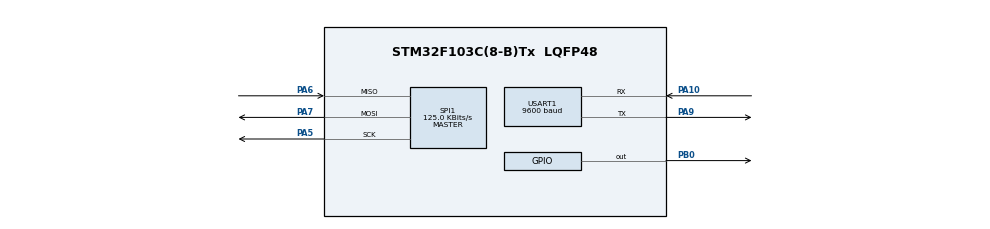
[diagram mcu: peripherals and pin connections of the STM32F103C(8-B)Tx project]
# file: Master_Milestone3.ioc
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Mcu.Family=STM32F1
Mcu.Name=STM32F103C(8-B)Tx
Mcu.Package=LQFP48
NVIC.PriorityGroup=NVIC_PRIORITYGROUP_4
PA10.Mode=Asynchronous
PA10.Signal=USART1_RX
PA5.Mode=Full_Duplex_Master
PA5.Signal=SPI1_SCK
PA6.Mode=Full_Duplex_Master
PA6.Signal=SPI1_MISO
PA7.Mode=Full_Duplex_Master
PA7.Signal=SPI1_MOSI
PA9.Mode=Asynchronous
PA9.Signal=USART1_TX
PB0.Signal=GPIO_Output
ProjectManager.HeapSize=0x200
ProjectManager.StackSize=0x400
ProjectManager.TargetToolchain=STM32CubeIDE
RCC.APB1Freq_Value=8000000
RCC.APB2Freq_Value=8000000
SPI1.BaudRatePrescaler=SPI_BAUDRATEPRESCALER_64
SPI1.CalculateBaudRate=125.0 KBits/s
SPI1.Direction=SPI_DIRECTION_2LINES
SPI1.Mode=SPI_MODE_MASTER
SPI1.VirtualType=VM_MASTER
USART1.BaudRate=9600
USART1.VirtualMode=VM_ASYNC
VP_SYS_VS_ND.Mode=No_Debug
board=custom

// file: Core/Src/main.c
/* USER CODE BEGIN Header */
/**
  ******************************************************************************
  * @file           : main.c
  * @brief          : Main program body
  ******************************************************************************
  * @attention
  *
  * Copyright (c) 2026 STMicroelectronics.
  * All rights reserved.
  *
  * This software is licensed under terms that can be found in the LICENSE file
  * in the root directory of this software component.
  * If no LICENSE file comes with this software, it is provided AS-IS.
  *
  ******************************************************************************
  */
/* USER CODE END Header */
#include "main.h"

/* USER CODE BEGIN Includes */
#include <stdio.h>
#include <string.h>
/* USER CODE END Includes */

SPI_HandleTypeDef hspi1;

UART_HandleTypeDef huart1;

void SystemClock_Config(void);
static void MX_GPIO_Init(void);
static void MX_SPI1_Init(void);
static void MX_USART1_UART_Init(void);

int main(void)
{

  /* MCU Configuration--------------------------------------------------------*/

  /* Reset of all peripherals, Initializes the Flash interface and the Systick. */
  HAL_Init();

  /* Configure the system clock */
  SystemClock_Config();

  /* Initialize all configured peripherals */
  MX_GPIO_Init();
  MX_SPI1_Init();
  MX_USART1_UART_Init();
  /* USER CODE BEGIN 2 */
  uint8_t uart_rx[1];
  uint8_t spi_tx[3] = {0};
  uint8_t spi_rx[3] = {0};
  char print_buffer[100];

  // Make sure Chip Select is HIGH (unselected) to start
  HAL_GPIO_WritePin(GPIOB, GPIO_PIN_0, GPIO_PIN_SET);
  /* USER CODE END 2 */

  /* Infinite loop */
  while (1)
  {

    /* USER CODE BEGIN 3 */
	  // 1. Wait for user to type a number (1-5) on the Virtual Terminal
	      HAL_UART_Receive(&huart1, uart_rx, 1, HAL_MAX_DELAY);

	      int case_id = uart_rx[0] - '0'; // Convert character '1' to number 1

	      if(case_id >= 1 && case_id <= 5) {
	          spi_tx[0] = case_id; // Put the ID into the first byte

	          // --- CYCLE 1: Send the ID request to the Slave ---
	          HAL_GPIO_WritePin(GPIOB, GPIO_PIN_0, GPIO_PIN_RESET); // Pull CS Low
	          HAL_SPI_TransmitReceive(&hspi1, spi_tx, spi_rx, 3, 1000);
	          HAL_GPIO_WritePin(GPIOB, GPIO_PIN_0, GPIO_PIN_SET);   // Pull CS High

	          HAL_Delay(20); // Very important! Give slave time to encode the answer

	          // --- CYCLE 2: Send dummy zeroes to clock out the real data ---
	          spi_tx[0] = 0; spi_tx[1] = 0; spi_tx[2] = 0; // Dummy bytes

	          HAL_GPIO_WritePin(GPIOB, GPIO_PIN_0, GPIO_PIN_RESET); // Pull CS Low
	          HAL_SPI_TransmitReceive(&hspi1, spi_tx, spi_rx, 3, 1000);
	          HAL_GPIO_WritePin(GPIOB, GPIO_PIN_0, GPIO_PIN_SET);   // Pull CS High

	          // 2. Decode the 24-bit message back into Voltage and Speed
	          uint16_t decoded_volt_raw = (spi_rx[0] << 4) | ((spi_rx[1] & 0xF0) >> 4);
	          uint16_t decoded_speed = ((spi_rx[1] & 0x0F) << 8) | spi_rx[2];

	          uint16_t volt_whole = decoded_volt_raw / 10;
	          uint16_t volt_decimal = decoded_volt_raw % 10;

	          // 3. Print the result to the Virtual Terminal
	          sprintf(print_buffer, "\r\nCase 0x100%d: Voltage = %d.%d V, Speed = %d km/h\r\n",
	                  case_id, volt_whole, volt_decimal, decoded_speed);
	          HAL_UART_Transmit(&huart1, (uint8_t*)print_buffer, strlen(print_buffer), 1000);
	      }
  }
  /* USER CODE END 3 */
}

void SystemClock_Config(void)
{
  RCC_OscInitTypeDef RCC_OscInitStruct = {0};
  RCC_ClkInitTypeDef RCC_ClkInitStruct = {0};

  /** Initializes the RCC Oscillators according to the specified parameters
  * in the RCC_OscInitTypeDef structure.
  */
  RCC_OscInitStruct.OscillatorType = RCC_OSCILLATORTYPE_HSI;
  RCC_OscInitStruct.HSIState = RCC_HSI_ON;
  RCC_OscInitStruct.HSICalibrationValue = RCC_HSICALIBRATION_DEFAULT;
  RCC_OscInitStruct.PLL.PLLState = RCC_PLL_NONE;
  if (HAL_RCC_OscConfig(&RCC_OscInitStruct) != HAL_OK)
  {
    Error_Handler();
  }

  /** Initializes the CPU, AHB and APB buses clocks
  */
  RCC_ClkInitStruct.ClockType = RCC_CLOCKTYPE_HCLK|RCC_CLOCKTYPE_SYSCLK
                              |RCC_CLOCKTYPE_PCLK1|RCC_CLOCKTYPE_PCLK2;
  RCC_ClkInitStruct.SYSCLKSource = RCC_SYSCLKSOURCE_HSI;
  RCC_ClkInitStruct.AHBCLKDivider = RCC_SYSCLK_DIV1;
  RCC_ClkInitStruct.APB1CLKDivider = RCC_HCLK_DIV1;
  RCC_ClkInitStruct.APB2CLKDivider = RCC_HCLK_DIV1;

  if (HAL_RCC_ClockConfig(&RCC_ClkInitStruct, FLASH_LATENCY_0) != HAL_OK)
  {
    Error_Handler();
  }
}

static void MX_SPI1_Init(void)
{

  /* SPI1 parameter configuration*/
  hspi1.Instance = SPI1;
  hspi1.Init.Mode = SPI_MODE_MASTER;
  hspi1.Init.Direction = SPI_DIRECTION_2LINES;
  hspi1.Init.DataSize = SPI_DATASIZE_8BIT;
  hspi1.Init.CLKPolarity = SPI_POLARITY_LOW;
  hspi1.Init.CLKPhase = SPI_PHASE_1EDGE;
  hspi1.Init.NSS = SPI_NSS_SOFT;
  hspi1.Init.BaudRatePrescaler = SPI_BAUDRATEPRESCALER_64;
  hspi1.Init.FirstBit = SPI_FIRSTBIT_MSB;
  hspi1.Init.TIMode = SPI_TIMODE_DISABLE;
  hspi1.Init.CRCCalculation = SPI_CRCCALCULATION_DISABLE;
  hspi1.Init.CRCPolynomial = 10;
  if (HAL_SPI_Init(&hspi1) != HAL_OK)
  {
    Error_Handler();
  }

}

static void MX_USART1_UART_Init(void)
{

  huart1.Instance = USART1;
  huart1.Init.BaudRate = 9600;
  huart1.Init.WordLength = UART_WORDLENGTH_8B;
  huart1.Init.StopBits = UART_STOPBITS_1;
  huart1.Init.Parity = UART_PARITY_NONE;
  huart1.Init.Mode = UART_MODE_TX_RX;
  huart1.Init.HwFlowCtl = UART_HWCONTROL_NONE;
  huart1.Init.OverSampling = UART_OVERSAMPLING_16;
  if (HAL_UART_Init(&huart1) != HAL_OK)
  {
    Error_Handler();
  }

}

static void MX_GPIO_Init(void)
{
  GPIO_InitTypeDef GPIO_InitStruct = {0};

  /* GPIO Ports Clock Enable */
  __HAL_RCC_GPIOA_CLK_ENABLE();
  __HAL_RCC_GPIOB_CLK_ENABLE();

  /*Configure GPIO pin Output Level */
  HAL_GPIO_WritePin(GPIOB, GPIO_PIN_0, GPIO_PIN_RESET);

  /*Configure GPIO pin : PB0 */
  GPIO_InitStruct.Pin = GPIO_PIN_0;
  GPIO_InitStruct.Mode = GPIO_MODE_OUTPUT_PP;
  GPIO_InitStruct.Pull = GPIO_NOPULL;
  GPIO_InitStruct.Speed = GPIO_SPEED_FREQ_LOW;
  HAL_GPIO_Init(GPIOB, &GPIO_InitStruct);

}

void Error_Handler(void)
{
  __disable_irq();
  while (1)
  {
  }
}
